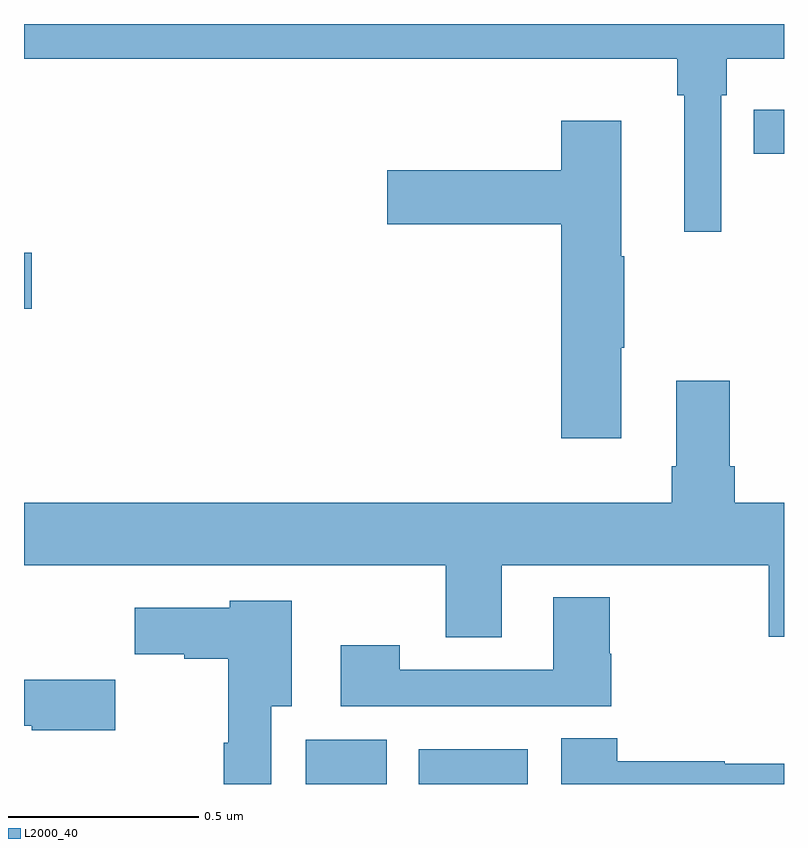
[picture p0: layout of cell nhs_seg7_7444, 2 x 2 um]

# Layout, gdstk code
import gdstk
lib = gdstk.Library(unit=1e-6, precision=1e-09)
def R(c, l, rs):  # rectangles x0, y0, x1, y1
    for r in rs: c.add(gdstk.rectangle(r[:2], r[2:], *l))
def P(c, l, *ps):  # polygons
    for p in ps: c.add(gdstk.Polygon(p, *l))
L2000_40 = (2000, 40)

nhs_seg7_7444 = lib.new_cell('nhs_seg7_7444')
R(nhs_seg7_7444, L2000_40, [(211.742,1040,211.954,1040.116), (212.039,1040,212.326,1040.092), (211,1041.251,211.021,1041.398), (212.92,1041.658,213,1041.774)])
P(nhs_seg7_7444, L2000_40, [(212.835,1041.812),(212.849,1041.812),(212.849,1041.908),(213,1041.908),(213,1042),(211,1042),(211,1041.908),(212.719,1041.908),(212.719,1041.812),(212.738,1041.812),(212.738,1041.453),(212.835,1041.453)],
  [(212.572,1041.148),(212.58,1041.148),(212.58,1041.389),(212.572,1041.389),(212.572,1041.745),(212.414,1041.745),(212.414,1041.615),(211.956,1041.615),(211.956,1041.473),(212.414,1041.473),(212.414,1040.91),(212.572,1040.91)],
  [(212.257,1040.576),(212.96,1040.576),(212.96,1040.388),(213,1040.388),(213,1040.74),(212.87,1040.74),(212.87,1040.836),(212.857,1040.836),(212.857,1041.061),(212.717,1041.061),(212.717,1040.836),(212.705,1040.836),(212.705,1040.74),(211,1040.74),(211,1040.576),(212.11,1040.576),(212.11,1040.386),(212.257,1040.386)],
  [(212.546,1040.343),(212.541,1040.343),(212.541,1040.491),(212.393,1040.491),(212.393,1040.301),(211.989,1040.301),(211.989,1040.365),(211.833,1040.365),(211.833,1040.205),(212.546,1040.205)],
  [(211.651,1040.204),(211.705,1040.204),(211.705,1040.482),(211.542,1040.482),(211.542,1040.464),(211.292,1040.464),(211.292,1040.341),(211.422,1040.341),(211.422,1040.33),(211.538,1040.33),(211.538,1040.108),(211.526,1040.108),(211.526,1040),(211.651,1040)],
  [(211.24,1040.274),(211.13,1040.274),(211.13,1040.275),(211,1040.275),(211,1040.153),(211.02,1040.153),(211.02,1040.141),(211.24,1040.141)],
  [(213,1040.053),(212.844,1040.053),(212.844,1040.06),(212.561,1040.06),(212.561,1040.12),(212.414,1040.12),(212.414,1040),(213,1040)])

lib.write_gds('nhs_seg7_7444.gds')
